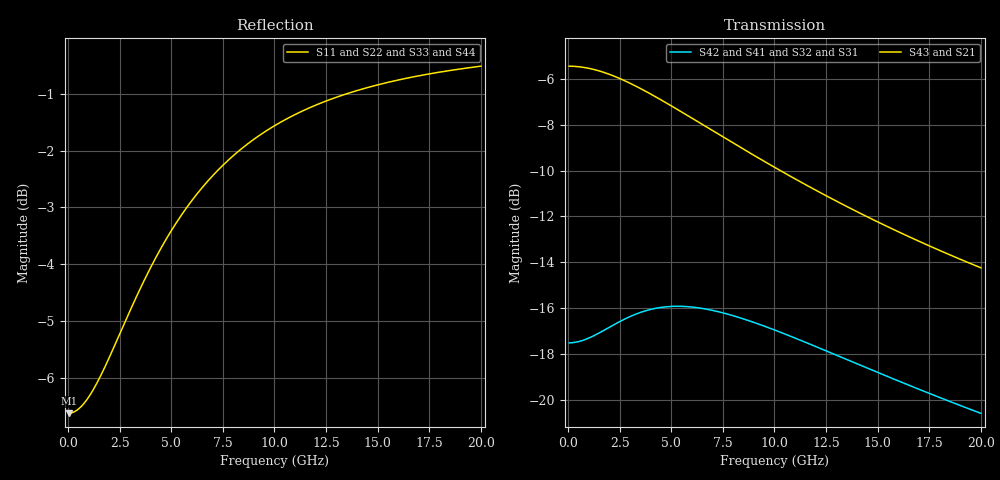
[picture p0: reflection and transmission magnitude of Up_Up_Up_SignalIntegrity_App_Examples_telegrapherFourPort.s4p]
# MHz MA S R 50.0
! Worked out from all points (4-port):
!   400 points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, 50 MHz to 20 GHz, reference 50 ohm
!   strongest paths, dB at 50 MHz, 5.05 GHz, 10.05 GHz, 15.05 GHz, 20 GHz:
!     S43: -5.5, -7.2, -9.9, -12.3, -14.2
!     S21: -5.5, -7.2, -9.9, -12.3, -14.2
!     S42: -17.5, -15.9, -17.0, -18.8, -20.6
!     S41: -17.5, -15.9, -17.0, -18.8, -20.6
!     S32: -17.5, -15.9, -17.0, -18.8, -20.6
!     S31: -17.5, -15.9, -17.0, -18.8, -20.6
!   lowest |S11| = -6.6 dB at 50 MHz (marker M1), VSWR 2.75, Z = 18.2 - j0.169 ohm
!   |S11| at or under -10 dB: nowhere
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50  0.4667 -179.6  0.5333 -0.4  0.1333 0.1  0.1333 0.1
    0.5333 -0.4  0.4667 -179.6  0.1333 0.1  0.1333 0.1
    0.1333 0.1  0.1333 0.1  0.4667 -179.6  0.5333 -0.4
    0.1333 0.1  0.1333 0.1  0.5333 -0.4  0.4667 -179.6
1350  0.4944 -169.0  0.5232 -10.4  0.139 0.7  0.139 0.7
      0.5232 -10.4  0.4944 -169.0  0.139 0.7  0.139 0.7
      0.139 0.7  0.139 0.7  0.4944 -169.0  0.5232 -10.4
      0.139 0.7  0.139 0.7  0.5232 -10.4  0.4944 -169.0
2950  0.5717 -161.8  0.4908 -21.4  0.1518 -3.4  0.1518 -3.4
      0.4908 -21.4  0.5717 -161.8  0.1518 -3.4  0.1518 -3.4
      0.1518 -3.4  0.1518 -3.4  0.5717 -161.8  0.4908 -21.4
      0.1518 -3.4  0.1518 -3.4  0.4908 -21.4  0.5717 -161.8
6000  0.718 -159.7  0.4111 -37.4  0.1596 -18.6  0.1596 -18.6
      0.4111 -37.4  0.718 -159.7  0.1596 -18.6  0.1596 -18.6
      0.1596 -18.6  0.1596 -18.6  0.718 -159.7  0.4111 -37.4
      0.1596 -18.6  0.1596 -18.6  0.4111 -37.4  0.718 -159.7
8800  0.8076 -161.6  0.3455 -47.5  0.1488 -31.5  0.1488 -31.5
      0.3455 -47.5  0.8076 -161.6  0.1488 -31.5  0.1488 -31.5
      0.1488 -31.5  0.1488 -31.5  0.8076 -161.6  0.3455 -47.5
      0.1488 -31.5  0.1488 -31.5  0.3455 -47.5  0.8076 -161.6
11900  0.8692 -164.2  0.2881 -55.4  0.1315 -42.2  0.1315 -42.2
       0.2881 -55.4  0.8692 -164.2  0.1315 -42.2  0.1315 -42.2
       0.1315 -42.2  0.1315 -42.2  0.8692 -164.2  0.2881 -55.4
       0.1315 -42.2  0.1315 -42.2  0.2881 -55.4  0.8692 -164.2
20000  0.9422 -169.0  0.1942 -67.3  0.09371 -58.7  0.09371 -58.7
       0.1942 -67.3  0.9422 -169.0  0.09371 -58.7  0.09371 -58.7
       0.09371 -58.7  0.09371 -58.7  0.9422 -169.0  0.1942 -67.3
       0.09371 -58.7  0.09371 -58.7  0.1942 -67.3  0.9422 -169.0
